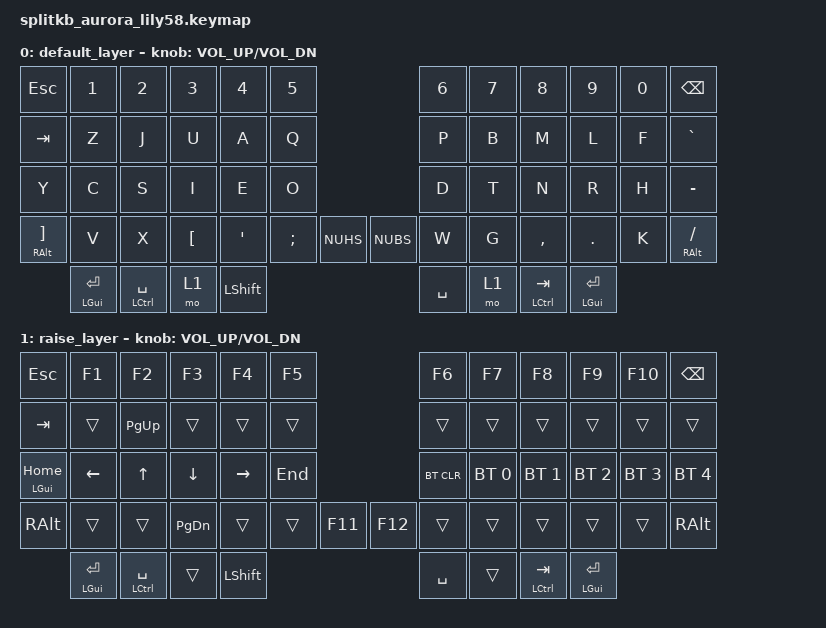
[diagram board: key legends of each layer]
/*
 * Copyright (c) 2022 The ZMK Contributors
 *
 * SPDX-License-Identifier: MIT
 */

#include <behaviors.dtsi>
#include <dt-bindings/zmk/keys.h>
#include <dt-bindings/zmk/bt.h>
#include <dt-bindings/zmk/ext_power.h>


    &mt {
    tapping-term-ms = <175>;
    };

/ {
    keymap {
        compatible = "zmk,keymap";

        default_layer {
// ------------------------------------------------------------------------------------------------------------
// | ESC |  1  |  2  |  3  |   4    |  5  |                  |  6   |  7  |    8   |  9  |  0  |BSPC |
// | TAB |  Y  |  J  |  U  |   A    |  Q  |                  |  P   |  B  |    M   |  L  |  F  |  ^  |
// |  Z  |  C  |  S  |  I  |   E    |  O  |                  |  D   |  T  |    N   |  R  |  H  |  ß  |
// |+/ALT|  V  |  X  |  Ü  |   Ä    |  Ö  |   #   |  |   <   |  W   |  G  |    ,   |  .  |  K  |-/ALT|                                                                                                                                                                                        12z    34   |  M    |  ,    |  .   |   /   |   -   |
//                  |RET/LGUI|CTRL/SPC|Layer| LSHFT |  | SPACE |Layer|CTRL/TAB |RET/LGUI|
            bindings = <
&kp ESC       &kp N1 &kp N2 &kp N3   &kp N4  &kp N5                         &kp N6 &kp N7 &kp N8    &kp N9  &kp N0 &kp BSPC
&kp TAB       &kp Z  &kp J  &kp U    &kp A   &kp Q                          &kp P  &kp B  &kp M     &kp L   &kp F  &kp GRAVE
&kp Y         &kp C  &kp S  &kp I    &kp E   &kp O                          &kp D  &kp T  &kp N     &kp R   &kp H  &kp MINUS 
&mt RALT RBKT &kp V  &kp X  &kp LBKT &kp SQT &kp SEMI &kp NUHS    &kp NUBS  &kp W  &kp G  &kp COMMA &kp DOT &kp K  &mt RALT SLASH
                &mt LGUI RET &mt LCTRL SPACE &mo 1 &kp LSHFT      &kp SPACE &mo 1 &mt LCTRL TAB &mt LGUI RET
            >;

            sensor-bindings = <&inc_dec_kp C_VOL_UP C_VOL_DN>;
        };
        raise_layer {
// ------------------------------------------------------------------------------------------------------------
// |   ESC   |  F1 | F2  |  F3 |  F4  |  F5  |                   |  F6  |  F7  |   F8   |  F9  |  F10 | BSPC  |
// |   TAB   |     |PG_UP|     |      |      |                   |      |      |        |      |      |       |
// |LGUI/HOME| <-  | ^   |  v  |  ->  |  END |                   | BTCLR| BT1  |  BT2   |  BT3 |  BT4 |  BT5  |
// |   RALT  |     |     |PG_DN|      |      |  F11   |  |  F12  |      |      |        |      |      |  ALT  |
//                 |LGUI/RET|CTRL/SPC |      |  LSHFT |  | SPACE |      |CTRL/TAB|RET/LGUI|
            bindings = <
&kp ESC       &kp F1   &kp F2    &kp F3    &kp F4    &kp F5                           &kp F6 &kp F7 &kp F8 &kp F9 &kp F10 &kp BSPC
&kp TAB       &trans   &kp PG_UP &trans    &trans    &trans                           &trans &trans &trans &trans &trans &trans
&mt LGUI HOME &kp LEFT &kp UP    &kp DOWN  &kp RIGHT &kp END                          &bt BT_CLR &bt BT_SEL 0 &bt BT_SEL 1 &bt BT_SEL 2 &bt BT_SEL 3 &bt BT_SEL 4
&kp RALT      &trans   &trans    &kp PG_DN &trans    &trans  &kp F11              &kp F12 &trans &trans &trans &trans &trans &kp RALT
                    &mt LGUI RET &mt LCTRL SPACE &trans &kp LSHFT          &kp SPACE &trans &mt LCTRL TAB &mt LGUI RET
            >;

            sensor-bindings = <&inc_dec_kp C_VOL_UP C_VOL_DN>;
        };
    };
};
